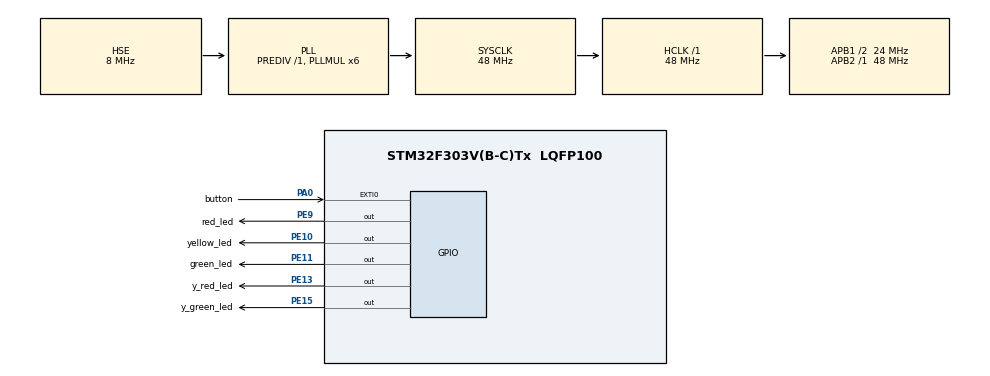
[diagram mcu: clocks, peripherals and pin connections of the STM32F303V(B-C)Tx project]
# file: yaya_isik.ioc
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Mcu.Family=STM32F3
Mcu.Name=STM32F303V(B-C)Tx
Mcu.Package=LQFP100
NVIC.EXTI0_IRQn=true\:0\:0\:false\:false\:true\:true\:true\:true
NVIC.PriorityGroup=NVIC_PRIORITYGROUP_0
NVIC.TIM2_IRQn=true\:0\:0\:false\:false\:true\:true\:true\:true
PA0.GPIO_Label=button
PA0.GPIO_PuPd=GPIO_PULLDOWN
PA0.Signal=GPXTI0
PA13.Mode=Serial_Wire
PA13.Signal=SYS_JTMS-SWDIO
PA14.Mode=Serial_Wire
PA14.Signal=SYS_JTCK-SWCLK
PE10.GPIO_Label=yellow_led
PE10.Signal=GPIO_Output
PE11.GPIO_Label=green_led
PE11.Signal=GPIO_Output
PE13.GPIO_Label=y_red_led
PE13.Signal=GPIO_Output
PE15.GPIO_Label=y_green_led
PE15.Signal=GPIO_Output
PE9.GPIO_Label=red_led
PE9.Signal=GPIO_Output
PF0-OSC_IN.Mode=HSE-External-Oscillator
PF0-OSC_IN.Signal=RCC_OSC_IN
PF1-OSC_OUT.Mode=HSE-External-Oscillator
PF1-OSC_OUT.Signal=RCC_OSC_OUT
ProjectManager.HeapSize=0x200
ProjectManager.StackSize=0x400
ProjectManager.TargetToolchain=STM32CubeIDE
RCC.AHBFreq_Value=48000000
RCC.APB1CLKDivider=RCC_HCLK_DIV2
RCC.APB1Freq_Value=24000000
RCC.APB1TimFreq_Value=48000000
RCC.APB2Freq_Value=48000000
RCC.APB2TimFreq_Value=48000000
RCC.CortexFreq_Value=48000000
RCC.HCLKFreq_Value=48000000
RCC.HSE_VALUE=8000000
RCC.HSI_VALUE=8000000
RCC.LSE_VALUE=32768
RCC.PLLMUL=RCC_PLL_MUL6
RCC.PLLSourceVirtual=RCC_PLLSOURCE_HSE
RCC.SYSCLKFreq_VALUE=48000000
RCC.SYSCLKSourceVirtual=RCC_SYSCLKSOURCE_PLLCLK
RCC.USBFreq_Value=48000000
TIM2.Period=499
TIM2.Prescaler=47999
VP_TIM2_VS_ClockSourceINT.Mode=Internal
board=STM32F3DISCOVERY

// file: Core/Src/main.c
/* USER CODE BEGIN Header */
/**
  ******************************************************************************
  * @file           : main.c
  * @brief          : Main program body
  ******************************************************************************
  * @attention
  *
  * Copyright (c) 2026 STMicroelectronics.
  * All rights reserved.
  *
  * This software is licensed under terms that can be found in the LICENSE file
  * in the root directory of this software component.
  * If no LICENSE file comes with this software, it is provided AS-IS.
  *
  ******************************************************************************
  */
/* USER CODE END Header */
#include "main.h"

TIM_HandleTypeDef htim2;

/* USER CODE BEGIN PV */
volatile int saniyesayaci = 0;
volatile int button1 = 0;
/* USER CODE END PV */

void SystemClock_Config(void);
static void MX_GPIO_Init(void);
static void MX_TIM2_Init(void);

/* USER CODE BEGIN 0 */
enum isiklar {kirmizi, sari, yesil,y_yesil,y_red};
enum isiklar baslangic = kirmizi;

/* USER CODE END 0 */

int main(void)
{

  /* MCU Configuration--------------------------------------------------------*/

  /* Reset of all peripherals, Initializes the Flash interface and the Systick. */
  HAL_Init();

  /* Configure the system clock */
  SystemClock_Config();

  /* Initialize all configured peripherals */
  MX_GPIO_Init();
  MX_TIM2_Init();
  /* USER CODE BEGIN 2 */
  HAL_TIM_Base_Start_IT(&htim2);
  /* USER CODE END 2 */

  /* Infinite loop */
  while (1)
  {

  }
}

void SystemClock_Config(void)
{
  RCC_OscInitTypeDef RCC_OscInitStruct = {0};
  RCC_ClkInitTypeDef RCC_ClkInitStruct = {0};

  /** Initializes the RCC Oscillators according to the specified parameters
  * in the RCC_OscInitTypeDef structure.
  */
  RCC_OscInitStruct.OscillatorType = RCC_OSCILLATORTYPE_HSE;
  RCC_OscInitStruct.HSEState = RCC_HSE_ON;
  RCC_OscInitStruct.HSEPredivValue = RCC_HSE_PREDIV_DIV1;
  RCC_OscInitStruct.HSIState = RCC_HSI_ON;
  RCC_OscInitStruct.PLL.PLLState = RCC_PLL_ON;
  RCC_OscInitStruct.PLL.PLLSource = RCC_PLLSOURCE_HSE;
  RCC_OscInitStruct.PLL.PLLMUL = RCC_PLL_MUL6;
  if (HAL_RCC_OscConfig(&RCC_OscInitStruct) != HAL_OK)
  {
    Error_Handler();
  }

  /** Initializes the CPU, AHB and APB buses clocks
  */
  RCC_ClkInitStruct.ClockType = RCC_CLOCKTYPE_HCLK|RCC_CLOCKTYPE_SYSCLK
                              |RCC_CLOCKTYPE_PCLK1|RCC_CLOCKTYPE_PCLK2;
  RCC_ClkInitStruct.SYSCLKSource = RCC_SYSCLKSOURCE_PLLCLK;
  RCC_ClkInitStruct.AHBCLKDivider = RCC_SYSCLK_DIV1;
  RCC_ClkInitStruct.APB1CLKDivider = RCC_HCLK_DIV2;
  RCC_ClkInitStruct.APB2CLKDivider = RCC_HCLK_DIV1;

  if (HAL_RCC_ClockConfig(&RCC_ClkInitStruct, FLASH_LATENCY_1) != HAL_OK)
  {
    Error_Handler();
  }
}

static void MX_TIM2_Init(void)
{

  TIM_ClockConfigTypeDef sClockSourceConfig = {0};
  TIM_MasterConfigTypeDef sMasterConfig = {0};

  htim2.Instance = TIM2;
  htim2.Init.Prescaler = 47999;
  htim2.Init.CounterMode = TIM_COUNTERMODE_UP;
  htim2.Init.Period = 499;
  htim2.Init.ClockDivision = TIM_CLOCKDIVISION_DIV1;
  htim2.Init.AutoReloadPreload = TIM_AUTORELOAD_PRELOAD_DISABLE;
  if (HAL_TIM_Base_Init(&htim2) != HAL_OK)
  {
    Error_Handler();
  }
  sClockSourceConfig.ClockSource = TIM_CLOCKSOURCE_INTERNAL;
  if (HAL_TIM_ConfigClockSource(&htim2, &sClockSourceConfig) != HAL_OK)
  {
    Error_Handler();
  }
  sMasterConfig.MasterOutputTrigger = TIM_TRGO_RESET;
  sMasterConfig.MasterSlaveMode = TIM_MASTERSLAVEMODE_DISABLE;
  if (HAL_TIMEx_MasterConfigSynchronization(&htim2, &sMasterConfig) != HAL_OK)
  {
    Error_Handler();
  }

}

static void MX_GPIO_Init(void)
{
  GPIO_InitTypeDef GPIO_InitStruct = {0};

  /* GPIO Ports Clock Enable */
  __HAL_RCC_GPIOF_CLK_ENABLE();
  __HAL_RCC_GPIOA_CLK_ENABLE();
  __HAL_RCC_GPIOE_CLK_ENABLE();

  /*Configure GPIO pin Output Level */
  HAL_GPIO_WritePin(GPIOE, red_led_Pin|yellow_led_Pin|green_led_Pin|y_red_led_Pin
                          |y_green_led_Pin, GPIO_PIN_RESET);

  /*Configure GPIO pin : button_Pin */
  GPIO_InitStruct.Pin = button_Pin;
  GPIO_InitStruct.Mode = GPIO_MODE_IT_RISING;
  GPIO_InitStruct.Pull = GPIO_PULLDOWN;
  HAL_GPIO_Init(button_GPIO_Port, &GPIO_InitStruct);

  /*Configure GPIO pins : red_led_Pin yellow_led_Pin green_led_Pin y_red_led_Pin
                           y_green_led_Pin */
  GPIO_InitStruct.Pin = red_led_Pin|yellow_led_Pin|green_led_Pin|y_red_led_Pin
                          |y_green_led_Pin;
  GPIO_InitStruct.Mode = GPIO_MODE_OUTPUT_PP;
  GPIO_InitStruct.Pull = GPIO_NOPULL;
  GPIO_InitStruct.Speed = GPIO_SPEED_FREQ_LOW;
  HAL_GPIO_Init(GPIOE, &GPIO_InitStruct);

  /* EXTI interrupt init*/
  HAL_NVIC_SetPriority(EXTI0_IRQn, 0, 0);
  HAL_NVIC_EnableIRQ(EXTI0_IRQn);

}

/* USER CODE BEGIN 4 */
void HAL_TIM_PeriodElapsedCallback(TIM_HandleTypeDef *htim)
{
	if (htim->Instance == TIM2){
		saniyesayaci++;

		HAL_GPIO_WritePin(GPIOE, red_led_Pin|green_led_Pin|yellow_led_Pin | y_red_led_Pin| y_green_led_Pin, RESET);

		switch(baslangic){

			case kirmizi:

				HAL_GPIO_WritePin(GPIOE, red_led_Pin, SET);
				HAL_GPIO_WritePin(GPIOE, y_red_led_Pin, SET);

				if(saniyesayaci == 6 && button1 == 1){

					//HAL_GPIO_WritePin(GPIOE, y_green_led_Pin, SET);
					baslangic = y_yesil;
					saniyesayaci = 0;
					button1=0;
				}

				else if(saniyesayaci ==10){
					baslangic = yesil;
					saniyesayaci = 0;
				}

			break;

			case yesil:
				HAL_GPIO_WritePin(GPIOE, green_led_Pin, SET);
				HAL_GPIO_WritePin(GPIOE, y_red_led_Pin, SET);
				if(saniyesayaci == 10 && button1==1){
					baslangic = sari;
					saniyesayaci = 0;
					//button1 = 1;
				}
				else if(saniyesayaci == 10){
					baslangic = sari;
					saniyesayaci = 0;

				}
			break;

			case sari:
				HAL_GPIO_WritePin(GPIOE, y_red_led_Pin, SET);
				HAL_GPIO_WritePin(GPIOE, yellow_led_Pin, SET);
				if(saniyesayaci == 6 && button1 == 1){
					saniyesayaci = 0;
					baslangic = kirmizi;
				}
				else if(saniyesayaci == 6 ){
					saniyesayaci = 0;
					baslangic = kirmizi;
				}
	    	break;

			case y_yesil:
				HAL_GPIO_WritePin(GPIOE, y_green_led_Pin, SET);
				HAL_GPIO_WritePin(GPIOE, red_led_Pin, SET);
				if(saniyesayaci == 8){
					saniyesayaci = 0;
					baslangic = y_red;
				}
				break;

			case y_red:
				HAL_GPIO_WritePin(GPIOE, red_led_Pin, SET);

				if(saniyesayaci % 2 == 0 ){
					HAL_GPIO_WritePin(GPIOE, y_red_led_Pin, SET);
				}else{
						HAL_GPIO_WritePin(GPIOE, y_red_led_Pin, RESET);
					}

				if(saniyesayaci == 6){
					saniyesayaci = 4;
					baslangic = kirmizi;
				}
			break;

	}
}
}
void HAL_GPIO_EXTI_Callback(uint16_t GPIO_Pin)
{

    if (GPIO_Pin == button_Pin)
    {
        button1 = 1;
    }
}

/* USER CODE END 4 */

void Error_Handler(void)
{
  __disable_irq();
  while (1)
  {
  }
}
